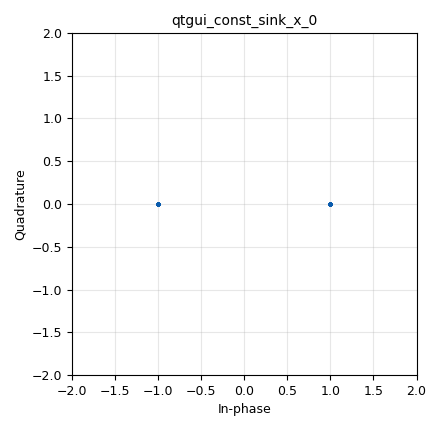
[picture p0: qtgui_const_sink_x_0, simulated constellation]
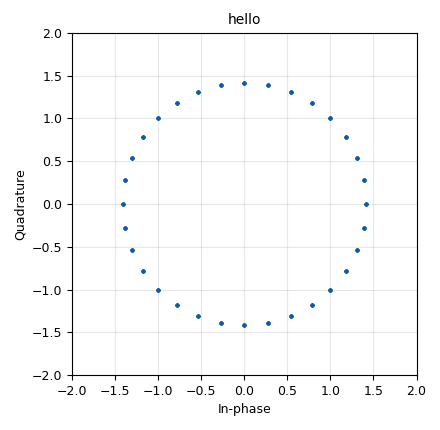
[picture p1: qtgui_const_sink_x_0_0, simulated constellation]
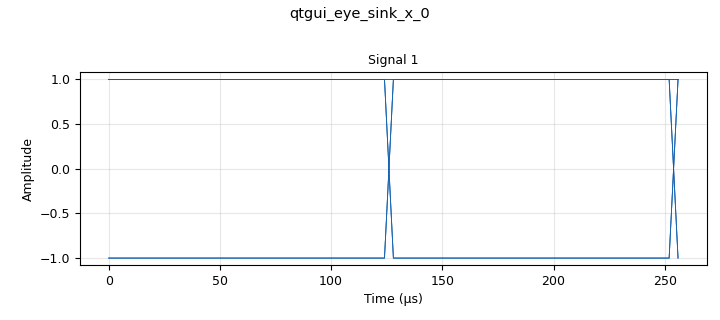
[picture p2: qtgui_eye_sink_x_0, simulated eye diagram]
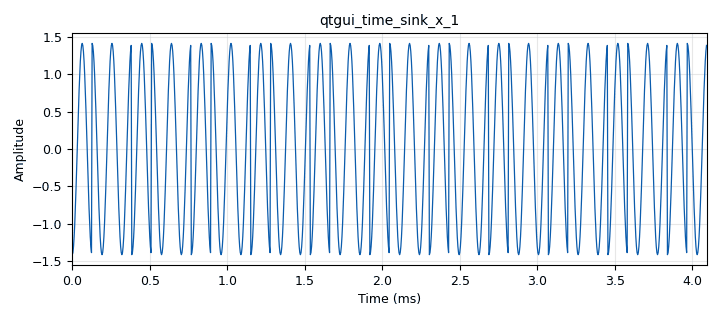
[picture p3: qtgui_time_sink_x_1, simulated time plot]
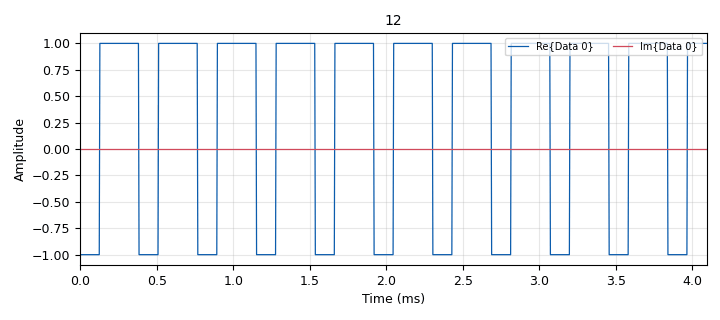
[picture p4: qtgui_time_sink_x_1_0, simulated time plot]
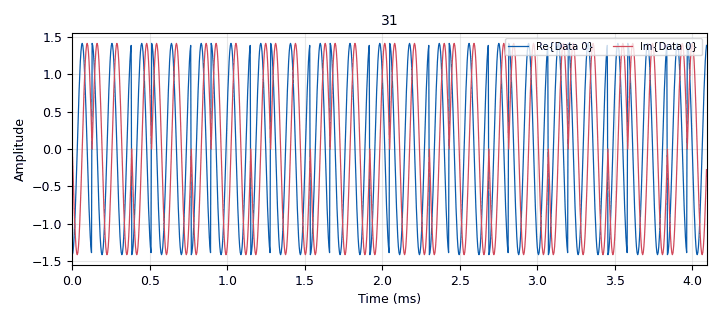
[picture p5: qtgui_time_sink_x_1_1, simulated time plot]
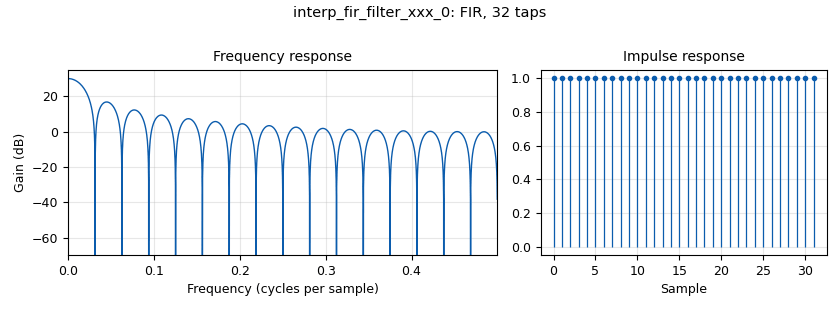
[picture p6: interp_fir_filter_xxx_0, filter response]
options:
  parameters:
    author: Ivan Antony Babu
    generate_options: qt_gui
    id: test
    output_language: python
    title: Not titled yet
  states: {}

blocks:
- name: interpolation_factor
  id: variable
  parameters:
    value: '32'
  states: {}
- name: samp_rate
  id: variable
  parameters:
    value: 250e3
  states: {}
- name: tuner
  id: variable_qtgui_range
  parameters:
    start: 25e6
    step: 1e6
    stop: 920e6
    value: 435e6
  states: {}
- name: analog_sig_source_x_0
  id: analog_sig_source_x
  parameters:
    amp: '1.414'
    freq: '7812.5'
    offset: '0'
    phase: '0'
    samp_rate: samp_rate
    type: complex
    waveform: analog.GR_COS_WAVE
  states: {}
- name: blocks_complex_to_real_0
  id: blocks_complex_to_real
  parameters: {}
  states: {}
- name: blocks_complex_to_real_1
  id: blocks_complex_to_real
  parameters: {}
  states: {}
- name: blocks_multiply_xx_0
  id: blocks_multiply_xx
  parameters:
    type: complex
  states: {}
- name: blocks_throttle2_0
  id: blocks_throttle2
  parameters:
    samples_per_second: samp_rate
    type: complex
  states: {}
- name: blocks_vector_source_x_0
  id: blocks_vector_source_x
  parameters:
    repeat: 'True'
    type: byte
    vector: (1,1,0)
  states: {}
- name: digital_chunks_to_symbols_xx_0
  id: digital_chunks_to_symbols_xx
  parameters:
    dimension: '1'
    in_type: byte
    out_type: complex
    symbol_table: '[-1+0j,1+0j]'
  states: {}
- name: import_0
  id: import
  parameters:
    imports: import numpy
  states: {}
- name: interp_fir_filter_xxx_0
  id: interp_fir_filter_xxx
  parameters:
    interp: interpolation_factor
    taps: numpy.ones(interpolation_factor)
    type: ccc
  states: {}
- name: qtgui_const_sink_x_0
  id: qtgui_const_sink_x
  parameters:
    grid: 'True'
    size: '1024'
    type: complex
  states: {}
- name: qtgui_const_sink_x_0_0
  id: qtgui_const_sink_x
  parameters:
    grid: 'True'
    name: '"hello"'
    size: '1024'
    type: complex
  states: {}
- name: qtgui_eye_sink_x_0
  id: qtgui_eye_sink_x
  parameters:
    samp_per_symbol: '32'
    size: '1024'
    srate: samp_rate
    type: float
  states: {}
- name: qtgui_time_sink_x_1
  id: qtgui_time_sink_x
  parameters:
    autoscale: 'True'
    ctrlpanel: 'True'
    grid: 'True'
    size: '1024'
    srate: samp_rate
    type: float
  states: {}
- name: qtgui_time_sink_x_1_0
  id: qtgui_time_sink_x
  parameters:
    autoscale: 'True'
    ctrlpanel: 'True'
    name: '"12"'
    size: '1024'
    srate: samp_rate
    type: complex
  states: {}
- name: qtgui_time_sink_x_1_1
  id: qtgui_time_sink_x
  parameters:
    autoscale: 'True'
    ctrlpanel: 'True'
    grid: 'True'
    name: '"31"'
    size: '1024'
    srate: samp_rate
    type: complex
  states: {}
- name: uhd_usrp_sink_0
  id: uhd_usrp_sink
  parameters:
    ant0: '"TX/RX"'
    center_freq0: tuner
    dev_addr: '""serial=31177C4""'
    gain0: '50'
    otw: sc16
    samp_rate: samp_rate
    stream_chans: '[0]'
    sync: none
    type: fc32
  states: {}
- name: virtual_sink_0
  id: virtual_sink
  parameters:
    stream_id: passband
  states: {}
- name: virtual_source_0
  id: virtual_source
  parameters:
    stream_id: passband
  states: {}

connections:
- [analog_sig_source_x_0, '0', blocks_multiply_xx_0, '1']
- [blocks_complex_to_real_0, '0', qtgui_time_sink_x_1, '0']
- [blocks_complex_to_real_1, '0', qtgui_eye_sink_x_0, '0']
- [blocks_multiply_xx_0, '0', blocks_complex_to_real_0, '0']
- [blocks_multiply_xx_0, '0', qtgui_const_sink_x_0_0, '0']
- [blocks_multiply_xx_0, '0', qtgui_time_sink_x_1_1, '0']
- [blocks_multiply_xx_0, '0', uhd_usrp_sink_0, '0']
- [blocks_throttle2_0, '0', interp_fir_filter_xxx_0, '0']
- [blocks_vector_source_x_0, '0', digital_chunks_to_symbols_xx_0, '0']
- [digital_chunks_to_symbols_xx_0, '0', blocks_throttle2_0, '0']
- [digital_chunks_to_symbols_xx_0, '0', qtgui_const_sink_x_0, '0']
- [interp_fir_filter_xxx_0, '0', blocks_complex_to_real_1, '0']
- [interp_fir_filter_xxx_0, '0', qtgui_time_sink_x_1_0, '0']
- [interp_fir_filter_xxx_0, '0', virtual_sink_0, '0']
- [virtual_source_0, '0', blocks_multiply_xx_0, '0']

metadata:
  file_format: 1
  grc_version: 3.10.12.0
